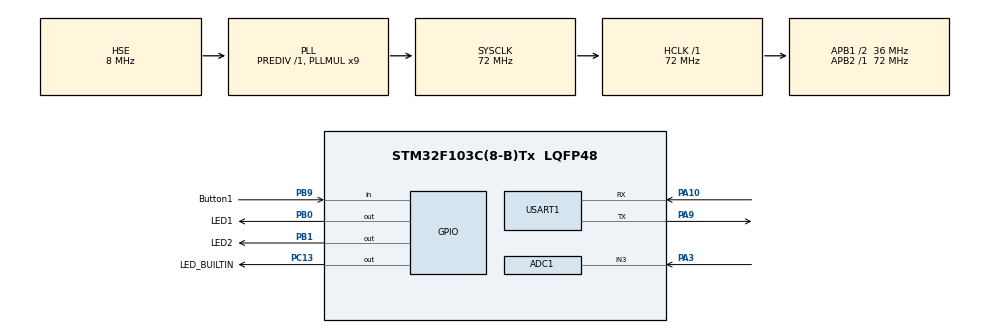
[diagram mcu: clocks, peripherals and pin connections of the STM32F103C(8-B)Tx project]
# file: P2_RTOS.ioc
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ADC1.Channel-4\#ChannelRegularConversion=ADC_CHANNEL_3
ADC1.NbrOfConversionFlag=1
ADC1.Rank-4\#ChannelRegularConversion=1
ADC1.SamplingTime-4\#ChannelRegularConversion=ADC_SAMPLETIME_1CYCLE_5
ADC1.master=1
FREERTOS.Tasks01=defaultTask,24,128,StartDefaultTask,Default,NULL,Dynamic,NULL,NULL;pickButtonTask,24,128,pickButton,Default,NULL,Dynamic,NULL,NULL;getADCTask,32,128,getADC,Default,NULL,Dynamic,NULL,NULL;dispLEDTask,24,128,dispLED,Default,NULL,Dynamic,NULL,NULL;dispUARTTask,24,128,dispUART,Default,NULL,Dynamic,NULL,NULL
FREERTOS.configTOTAL_HEAP_SIZE=3600
FREERTOS.configUSE_NEWLIB_REENTRANT=1
Mcu.Family=STM32F1
Mcu.Name=STM32F103C(8-B)Tx
Mcu.Package=LQFP48
NVIC.PriorityGroup=NVIC_PRIORITYGROUP_4
NVIC.TIM4_IRQn=true\:15\:0\:false\:false\:true\:false\:false\:true\:true
NVIC.TimeBase=TIM4_IRQn
NVIC.TimeBaseIP=TIM4
PA10.Mode=Asynchronous
PA10.Signal=USART1_RX
PA13.Mode=Serial_Wire
PA13.Signal=SYS_JTMS-SWDIO
PA14.Mode=Serial_Wire
PA14.Signal=SYS_JTCK-SWCLK
PA3.Signal=ADCx_IN3
PA9.Mode=Asynchronous
PA9.Signal=USART1_TX
PB0.GPIO_Label=LED1
PB0.Signal=GPIO_Output
PB1.GPIO_Label=LED2
PB1.Signal=GPIO_Output
PB9.GPIO_Label=Button1
PB9.GPIO_PuPd=GPIO_PULLUP
PB9.Signal=GPIO_Input
PC13-TAMPER-RTC.GPIO_Label=LED_BUILTIN
PC13-TAMPER-RTC.Signal=GPIO_Output
PD0-OSC_IN.Mode=HSE-External-Oscillator
PD0-OSC_IN.Signal=RCC_OSC_IN
PD1-OSC_OUT.Mode=HSE-External-Oscillator
PD1-OSC_OUT.Signal=RCC_OSC_OUT
ProjectManager.HeapSize=0x200
ProjectManager.StackSize=0x400
ProjectManager.TargetToolchain=STM32CubeIDE
RCC.ADCPresc=RCC_ADCPCLK2_DIV6
RCC.AHBFreq_Value=72000000
RCC.APB1CLKDivider=RCC_HCLK_DIV2
RCC.APB1Freq_Value=36000000
RCC.APB1TimFreq_Value=72000000
RCC.APB2Freq_Value=72000000
RCC.APB2TimFreq_Value=72000000
RCC.HCLKFreq_Value=72000000
RCC.PLLMUL=RCC_PLL_MUL9
RCC.PLLSourceVirtual=RCC_PLLSOURCE_HSE
RCC.SYSCLKFreq_VALUE=72000000
RCC.SYSCLKSource=RCC_SYSCLKSOURCE_PLLCLK
RCC.USBFreq_Value=72000000
SH.ADCx_IN3.0=ADC1_IN3,IN3
USART1.VirtualMode=VM_ASYNC
VP_FREERTOS_VS_CMSIS_V2.Mode=CMSIS_V2
VP_SYS_VS_tim4.Mode=TIM4
board=custom

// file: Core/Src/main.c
/* USER CODE BEGIN Header */
/**
  ******************************************************************************
 * main.c
 * author:  Jonathan Burkley Rodriguez <superryuboy@yahoo.com>
	for Phipp's Electronics

	SSD1306 code:
 * original author:  Tilen Majerle<tilen@majerle.eu>
 * modification for STM32f10x: Alexander Lutsai<s.lyra@ya.ru>

   ----------------------------------------------------------------------
   	Copyright (C) Alexander Lutsai, 2016
    Copyright (C) Tilen Majerle, 2015

   ----------------------------------------------------------------------

    This program is free software: you can redistribute it and/or modify
    it under the terms of the GNU General Public License as published by
    the Free Software Foundation, either version 3 of the License, or
    any later version.

    This program is distributed in the hope that it will be useful,
    but WITHOUT ANY WARRANTY; without even the implied warranty of
    MERCHANTABILITY or FITNESS FOR A PARTICULAR PURPOSE.  See the
    GNU General Public License for more details.

    You should have received a copy of the GNU General Public License
    along with this program.  If not, see <http://www.gnu.org/licenses/>.
  ******************************************************************************
  */
/* USER CODE END Header */
#include "main.h"
#include "cmsis_os.h"

/* USER CODE BEGIN Includes */
#include <stdio.h>

//#include "test.h"
//#include "horse_anim.h"
/* USER CODE END Includes */

ADC_HandleTypeDef hadc1;

UART_HandleTypeDef huart1;

/* Definitions for defaultTask */
osThreadId_t defaultTaskHandle;
const osThreadAttr_t defaultTask_attributes = {
  .name = "defaultTask",
  .stack_size = 128 * 4,
  .priority = (osPriority_t) osPriorityNormal,
};
/* Definitions for pickButtonTask */
osThreadId_t pickButtonTaskHandle;
const osThreadAttr_t pickButtonTask_attributes = {
  .name = "pickButtonTask",
  .stack_size = 128 * 4,
  .priority = (osPriority_t) osPriorityNormal,
};
/* Definitions for getADCTask */
osThreadId_t getADCTaskHandle;
const osThreadAttr_t getADCTask_attributes = {
  .name = "getADCTask",
  .stack_size = 128 * 4,
  .priority = (osPriority_t) osPriorityAboveNormal,
};
/* Definitions for dispLEDTask */
osThreadId_t dispLEDTaskHandle;
const osThreadAttr_t dispLEDTask_attributes = {
  .name = "dispLEDTask",
  .stack_size = 128 * 4,
  .priority = (osPriority_t) osPriorityNormal,
};
/* Definitions for dispUARTTask */
osThreadId_t dispUARTTaskHandle;
const osThreadAttr_t dispUARTTask_attributes = {
  .name = "dispUARTTask",
  .stack_size = 128 * 4,
  .priority = (osPriority_t) osPriorityNormal,
};
/* USER CODE BEGIN PV */
uint32_t x_val;
uint8_t choice;
char buffer[50];

volatile int button1_pressed = 0;
volatile int override_led_control = 0;
/* USER CODE END PV */

void SystemClock_Config(void);
static void MX_GPIO_Init(void);
static void MX_ADC1_Init(void);
static void MX_USART1_UART_Init(void);
void StartDefaultTask(void *argument);
void pickButton(void *argument);
void getADC(void *argument);
void dispLED(void *argument);
void dispUART(void *argument);

/* USER CODE BEGIN PFP */
void Menu_Display(void);
/* USER CODE END PFP */

int main(void)
{

  /* MCU Configuration--------------------------------------------------------*/

  /* Reset of all peripherals, Initializes the Flash interface and the Systick. */
  HAL_Init();

  /* USER CODE BEGIN Init */

	  // initialise
  /* USER CODE END Init */

  /* Configure the system clock */
  SystemClock_Config();

  /* Initialize all configured peripherals */
  MX_GPIO_Init();
  MX_ADC1_Init();
  MX_USART1_UART_Init();
  /* USER CODE BEGIN 2 */

  HAL_Delay(2000);

  /* USER CODE END 2 */

  /* Init scheduler */
  osKernelInitialize();

  /* Create the thread(s) */
  /* creation of defaultTask */
  defaultTaskHandle = osThreadNew(StartDefaultTask, NULL, &defaultTask_attributes);

  /* creation of pickButtonTask */
  pickButtonTaskHandle = osThreadNew(pickButton, NULL, &pickButtonTask_attributes);

  /* creation of getADCTask */
  getADCTaskHandle = osThreadNew(getADC, NULL, &getADCTask_attributes);

  /* creation of dispLEDTask */
  dispLEDTaskHandle = osThreadNew(dispLED, NULL, &dispLEDTask_attributes);

  /* creation of dispUARTTask */
  dispUARTTaskHandle = osThreadNew(dispUART, NULL, &dispUARTTask_attributes);

  /* Start scheduler */
  osKernelStart();

  /* We should never get here as control is now taken by the scheduler */

  /* Infinite loop */
  while (1)
  {

  }
}

void SystemClock_Config(void)
{
  RCC_OscInitTypeDef RCC_OscInitStruct = {0};
  RCC_ClkInitTypeDef RCC_ClkInitStruct = {0};
  RCC_PeriphCLKInitTypeDef PeriphClkInit = {0};

  /** Initializes the RCC Oscillators according to the specified parameters
  * in the RCC_OscInitTypeDef structure.
  */
  RCC_OscInitStruct.OscillatorType = RCC_OSCILLATORTYPE_HSE;
  RCC_OscInitStruct.HSEState = RCC_HSE_ON;
  RCC_OscInitStruct.HSEPredivValue = RCC_HSE_PREDIV_DIV1;
  RCC_OscInitStruct.HSIState = RCC_HSI_ON;
  RCC_OscInitStruct.PLL.PLLState = RCC_PLL_ON;
  RCC_OscInitStruct.PLL.PLLSource = RCC_PLLSOURCE_HSE;
  RCC_OscInitStruct.PLL.PLLMUL = RCC_PLL_MUL9;
  if (HAL_RCC_OscConfig(&RCC_OscInitStruct) != HAL_OK)
  {
    Error_Handler();
  }

  /** Initializes the CPU, AHB and APB buses clocks
  */
  RCC_ClkInitStruct.ClockType = RCC_CLOCKTYPE_HCLK|RCC_CLOCKTYPE_SYSCLK
                              |RCC_CLOCKTYPE_PCLK1|RCC_CLOCKTYPE_PCLK2;
  RCC_ClkInitStruct.SYSCLKSource = RCC_SYSCLKSOURCE_PLLCLK;
  RCC_ClkInitStruct.AHBCLKDivider = RCC_SYSCLK_DIV1;
  RCC_ClkInitStruct.APB1CLKDivider = RCC_HCLK_DIV2;
  RCC_ClkInitStruct.APB2CLKDivider = RCC_HCLK_DIV1;

  if (HAL_RCC_ClockConfig(&RCC_ClkInitStruct, FLASH_LATENCY_2) != HAL_OK)
  {
    Error_Handler();
  }
  PeriphClkInit.PeriphClockSelection = RCC_PERIPHCLK_ADC;
  PeriphClkInit.AdcClockSelection = RCC_ADCPCLK2_DIV6;
  if (HAL_RCCEx_PeriphCLKConfig(&PeriphClkInit) != HAL_OK)
  {
    Error_Handler();
  }
}

static void MX_ADC1_Init(void)
{

  ADC_ChannelConfTypeDef sConfig = {0};

  /** Common config
  */
  hadc1.Instance = ADC1;
  hadc1.Init.ScanConvMode = ADC_SCAN_DISABLE;
  hadc1.Init.ContinuousConvMode = DISABLE;
  hadc1.Init.DiscontinuousConvMode = DISABLE;
  hadc1.Init.ExternalTrigConv = ADC_SOFTWARE_START;
  hadc1.Init.DataAlign = ADC_DATAALIGN_RIGHT;
  hadc1.Init.NbrOfConversion = 1;
  if (HAL_ADC_Init(&hadc1) != HAL_OK)
  {
    Error_Handler();
  }

  /** Configure Regular Channel
  */
  sConfig.Channel = ADC_CHANNEL_3;
  sConfig.Rank = ADC_REGULAR_RANK_1;
  sConfig.SamplingTime = ADC_SAMPLETIME_1CYCLE_5;
  if (HAL_ADC_ConfigChannel(&hadc1, &sConfig) != HAL_OK)
  {
    Error_Handler();
  }

}

static void MX_USART1_UART_Init(void)
{

  huart1.Instance = USART1;
  huart1.Init.BaudRate = 115200;
  huart1.Init.WordLength = UART_WORDLENGTH_8B;
  huart1.Init.StopBits = UART_STOPBITS_1;
  huart1.Init.Parity = UART_PARITY_NONE;
  huart1.Init.Mode = UART_MODE_TX_RX;
  huart1.Init.HwFlowCtl = UART_HWCONTROL_NONE;
  huart1.Init.OverSampling = UART_OVERSAMPLING_16;
  if (HAL_UART_Init(&huart1) != HAL_OK)
  {
    Error_Handler();
  }

}

static void MX_GPIO_Init(void)
{
  GPIO_InitTypeDef GPIO_InitStruct = {0};

  /* GPIO Ports Clock Enable */
  __HAL_RCC_GPIOC_CLK_ENABLE();
  __HAL_RCC_GPIOD_CLK_ENABLE();
  __HAL_RCC_GPIOA_CLK_ENABLE();
  __HAL_RCC_GPIOB_CLK_ENABLE();

  /*Configure GPIO pin Output Level */
  HAL_GPIO_WritePin(LED_BUILTIN_GPIO_Port, LED_BUILTIN_Pin, GPIO_PIN_RESET);

  /*Configure GPIO pin Output Level */
  HAL_GPIO_WritePin(GPIOB, LED1_Pin|LED2_Pin, GPIO_PIN_RESET);

  /*Configure GPIO pin : LED_BUILTIN_Pin */
  GPIO_InitStruct.Pin = LED_BUILTIN_Pin;
  GPIO_InitStruct.Mode = GPIO_MODE_OUTPUT_PP;
  GPIO_InitStruct.Pull = GPIO_NOPULL;
  GPIO_InitStruct.Speed = GPIO_SPEED_FREQ_LOW;
  HAL_GPIO_Init(LED_BUILTIN_GPIO_Port, &GPIO_InitStruct);

  /*Configure GPIO pins : LED1_Pin LED2_Pin */
  GPIO_InitStruct.Pin = LED1_Pin|LED2_Pin;
  GPIO_InitStruct.Mode = GPIO_MODE_OUTPUT_PP;
  GPIO_InitStruct.Pull = GPIO_NOPULL;
  GPIO_InitStruct.Speed = GPIO_SPEED_FREQ_LOW;
  HAL_GPIO_Init(GPIOB, &GPIO_InitStruct);

  /*Configure GPIO pin : Button1_Pin */
  GPIO_InitStruct.Pin = Button1_Pin;
  GPIO_InitStruct.Mode = GPIO_MODE_INPUT;
  GPIO_InitStruct.Pull = GPIO_PULLUP;
  HAL_GPIO_Init(Button1_GPIO_Port, &GPIO_InitStruct);

}

/* USER CODE BEGIN 4 */

void Menu_Display(void)
{
    /* USER CODE BEGIN Menu_Display */
    char menu[] = "\r\n===== MENU UTAMA =====\r\n"
                  "1. Matikan Semua LED\r\n"
                  "2. Kondisi LED semula\r\n"
    			  "3. Re-Display\r\n"
                  "======================\r\n";

    HAL_UART_Transmit(&huart1, (uint8_t*)menu, sizeof(menu), 10);
    /* USER CODE END Menu_Display */
}
/* USER CODE END 4 */

void StartDefaultTask(void *argument)
{
  for(;;)
  {
    osDelay(1);
  }
}

void pickButton(void *argument)
{
  /* USER CODE BEGIN pickButton */
  /* Infinite loop */
  for(;;)
  {

	  if(HAL_GPIO_ReadPin(Button1_GPIO_Port, Button1_Pin) == GPIO_PIN_RESET)
	  {
		  osDelay(300);	// debounce
		  button1_pressed = 1;
	  }

    osDelay(100);
  }
  /* USER CODE END pickButton */
}

void getADC(void *argument)
{
  /* USER CODE BEGIN getADC */
  /* Infinite loop */
  for(;;)
  {

	  HAL_ADC_Start(&hadc1);
	  HAL_ADC_PollForConversion(&hadc1, 10);
	  x_val = (HAL_ADC_GetValue(&hadc1));
	  HAL_ADC_Stop(&hadc1);

	  // process ADC values here

    osDelay(100);
  }
  /* USER CODE END getADC */
}

void dispLED(void *argument)
{
  /* USER CODE BEGIN dispLED */
  /* Infinite loop */
  for(;;)
  {
      if (override_led_control == 1) {
          // Matikan semua LED jika override aktif
          HAL_GPIO_WritePin(LED1_GPIO_Port, LED1_Pin, GPIO_PIN_RESET);
          HAL_GPIO_WritePin(LED2_GPIO_Port, LED2_Pin, GPIO_PIN_RESET);
      } else {
          // Kontrol LED berdasarkan nilai ADC
          if(x_val >= 3500){
              HAL_GPIO_WritePin(LED1_GPIO_Port, LED1_Pin, GPIO_PIN_SET);
              HAL_GPIO_WritePin(LED2_GPIO_Port, LED2_Pin, GPIO_PIN_SET);
          } else if(x_val >= 2000){
              HAL_GPIO_WritePin(LED1_GPIO_Port, LED1_Pin, GPIO_PIN_SET);
              HAL_GPIO_WritePin(LED2_GPIO_Port, LED2_Pin, GPIO_PIN_RESET);
          } else if(x_val < 2000){
              HAL_GPIO_WritePin(LED1_GPIO_Port, LED1_Pin, GPIO_PIN_RESET);
              HAL_GPIO_WritePin(LED2_GPIO_Port, LED2_Pin, GPIO_PIN_RESET);
          }
      }

      osDelay(1);
  }
  /* USER CODE END dispLED */
}

void dispUART(void *argument)
{
  /* USER CODE BEGIN dispUART */
  Menu_Display();
  for(;;)
  {
      // Pilih input dari user
      if (HAL_UART_Receive(&huart1, &choice, sizeof(choice), 10) == HAL_OK)
      {
          switch (choice) {
              case '1':
                  // Matikan semua LED
                  override_led_control = 1; // Aktifkan override untuk mematikan LED
                  HAL_UART_Transmit(&huart1, (uint8_t*)"Semua LED dimatikan\r\n", sizeof("Semua LED dimatikan\r\n"), 10);
                  break;
              case '2':
                  // Tampilkan menu
            	  override_led_control = 0; // Aktifkan override untuk mematikan LED
            	  HAL_UART_Transmit(&huart1, (uint8_t*)"Kondisi LED semula\r\n", sizeof("Kondisi LED semula\r\n"), 10);
            	  break;
              case '3':
                  Menu_Display();
                  break;
              default:
                  break;
          }
      }

      // Jika tombol button1 ditekan
      if (button1_pressed) {
          // Kirimkan nilai ADC ke UART
          sprintf(buffer, "Button1 pressed, ADC Value = %d\r\n", x_val);
          HAL_UART_Transmit(&huart1, buffer, sizeof(buffer), 10);
          button1_pressed = 0;
      }

      osDelay(100);
  }
  /* USER CODE END dispUART */
}

void HAL_TIM_PeriodElapsedCallback(TIM_HandleTypeDef *htim)
{
  if (htim->Instance == TIM4) {
    HAL_IncTick();
  }
}

void Error_Handler(void)
{
  __disable_irq();
  while (1)
  {
  }
}
